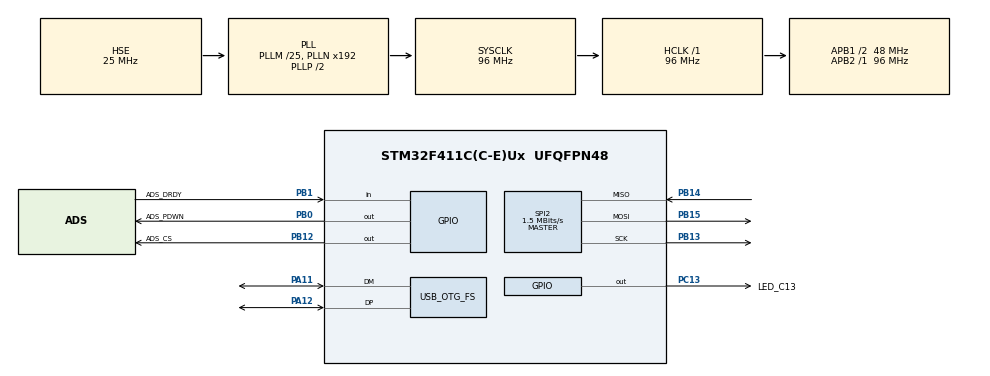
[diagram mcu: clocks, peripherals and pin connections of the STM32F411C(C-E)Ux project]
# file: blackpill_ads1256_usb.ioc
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Mcu.Family=STM32F4
Mcu.Name=STM32F411C(C-E)Ux
Mcu.Package=UFQFPN48
NVIC.OTG_FS_IRQn=true\:0\:0\:false\:false\:true\:false\:true\:true
NVIC.PriorityGroup=NVIC_PRIORITYGROUP_4
PA11.Mode=Device_Only
PA11.Signal=USB_OTG_FS_DM
PA12.Mode=Device_Only
PA12.Signal=USB_OTG_FS_DP
PB0.GPIO_Label=ADS_PDWN
PB0.Signal=GPIO_Output
PB1.GPIO_Label=ADS_DRDY
PB1.GPIO_PuPd=GPIO_PULLUP
PB1.Signal=GPIO_Input
PB12.GPIO_Label=ADS_CS
PB12.Signal=GPIO_Output
PB13.Mode=Full_Duplex_Master
PB13.Signal=SPI2_SCK
PB14.Mode=Full_Duplex_Master
PB14.Signal=SPI2_MISO
PB15.Mode=Full_Duplex_Master
PB15.Signal=SPI2_MOSI
PC13-ANTI_TAMP.GPIO_Label=LED_C13
PC13-ANTI_TAMP.Signal=GPIO_Output
PH0\ -\ OSC_IN.Mode=HSE-External-Oscillator
PH0\ -\ OSC_IN.Signal=RCC_OSC_IN
PH1\ -\ OSC_OUT.Mode=HSE-External-Oscillator
PH1\ -\ OSC_OUT.Signal=RCC_OSC_OUT
ProjectManager.HeapSize=0x200
ProjectManager.StackSize=0x400
ProjectManager.TargetToolchain=STM32CubeIDE
RCC.48MHZClocksFreq_Value=48000000
RCC.AHBFreq_Value=96000000
RCC.APB1CLKDivider=RCC_HCLK_DIV2
RCC.APB1Freq_Value=48000000
RCC.APB1TimFreq_Value=96000000
RCC.APB2Freq_Value=96000000
RCC.APB2TimFreq_Value=96000000
RCC.CortexFreq_Value=96000000
RCC.HCLKFreq_Value=96000000
RCC.HSE_VALUE=25000000
RCC.HSI_VALUE=16000000
RCC.LSE_VALUE=32768
RCC.PLLM=25
RCC.SYSCLKFreq_VALUE=96000000
RCC.SYSCLKSource=RCC_SYSCLKSOURCE_PLLCLK
RCC.VCOOutputFreq_Value=192000000
SPI2.BaudRatePrescaler=SPI_BAUDRATEPRESCALER_32
SPI2.CLKPhase=SPI_PHASE_2EDGE
SPI2.CalculateBaudRate=1.5 MBits/s
SPI2.Direction=SPI_DIRECTION_2LINES
SPI2.Mode=SPI_MODE_MASTER
SPI2.VirtualType=VM_MASTER
USB_DEVICE.CLASS_NAME_FS=CDC
USB_DEVICE.VirtualMode=Cdc
USB_DEVICE.VirtualModeFS=Cdc_FS
USB_OTG_FS.VirtualMode=Device_Only
VP_USB_DEVICE_VS_USB_DEVICE_CDC_FS.Mode=CDC_FS
board=custom

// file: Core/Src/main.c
#include "main.h"
#include "spi.h"
#include "usb_device.h"
#include "gpio.h"
#include "usbd_cdc_if.h"

#include <stdint.h>
#include <stdio.h>
#include <string.h>

#define APP_START_ADDRESS 0x08004000U

/* Pinos do ADS1256 */
#define ADS_CS_PORT        GPIOB
#define ADS_CS_PIN         GPIO_PIN_12

#define ADS_DRDY_PORT      GPIOB
#define ADS_DRDY_PIN       GPIO_PIN_1

#define ADS_PDWN_PORT      GPIOB
#define ADS_PDWN_PIN       GPIO_PIN_0

/* LED onboard da Blackpill */
#define LED_PORT           GPIOC
#define LED_PIN            GPIO_PIN_13

/* Comandos ADS1256 */
#define ADS_CMD_WAKEUP     0x00
#define ADS_CMD_RDATA      0x01
#define ADS_CMD_RDATAC     0x03
#define ADS_CMD_SDATAC     0x0F
#define ADS_CMD_RREG       0x10
#define ADS_CMD_WREG       0x50
#define ADS_CMD_SELFCAL    0xF0
#define ADS_CMD_SYNC       0xFC
#define ADS_CMD_STANDBY    0xFD
#define ADS_CMD_RESET      0xFE

/* Registradores ADS1256 */
#define ADS_REG_STATUS     0x00
#define ADS_REG_MUX        0x01
#define ADS_REG_ADCON      0x02
#define ADS_REG_DRATE      0x03

/* Taxas de amostragem ADS1256 */
#define ADS_DRATE_30000SPS 0xF0
#define ADS_DRATE_15000SPS 0xE0
#define ADS_DRATE_7500SPS  0xD0
#define ADS_DRATE_1000SPS  0xA1
#define ADS_DRATE_100SPS   0x82

/*
 * Canal inicial:
 * AIN0 contra AINCOM.
 */
#define ADS_MUX_AIN0_AINCOM 0x08

/*
 * Comece com 1000 SPS para validar.
 * Depois troque para ADS_DRATE_30000SPS.
 *
 * Atenção: imprimir texto via USB CDC pode não acompanhar 30000 SPS.
 */
#define ADS_DRATE_SELECTED  ADS_DRATE_15000SPS

#define USB_TX_BUF_SIZE 8192

void SystemClock_Config(void);

static void DWT_Init(void);
static void delay_us(uint32_t us);

static void usb_write_blocking(const char *data, uint16_t len);

static void ads_cs_low(void);
static void ads_cs_high(void);

static void ads_send_cmd(uint8_t cmd);
static void ads_write_reg(uint8_t reg, uint8_t value);
static uint8_t ads_read_reg(uint8_t reg);

static uint8_t ads_wait_drdy_timeout(uint32_t timeout_ms);
static void ads_wait_drdy(void);

static void ads_init(void);
static int32_t ads_read_raw24_continuous(void);

static void error_blink_fast(void);

int main(void)
{
  /*
   * Como seu app está em 0x08004000 por causa do bootloader WeAct,
   * a tabela de vetores precisa apontar para 0x08004000.
   */
  SCB->VTOR = APP_START_ADDRESS;
  __DSB();
  __ISB();

  HAL_Init();

  SystemClock_Config();

  MX_GPIO_Init();
  MX_SPI2_Init();
  MX_USB_DEVICE_Init();

  DWT_Init();

  /*
   * Estado inicial seguro dos pinos do ADS1256.
   */
  HAL_GPIO_WritePin(ADS_CS_PORT, ADS_CS_PIN, GPIO_PIN_SET);      // CS inativo
  HAL_GPIO_WritePin(ADS_PDWN_PORT, ADS_PDWN_PIN, GPIO_PIN_SET);  // ADS acordado
  HAL_GPIO_WritePin(LED_PORT, LED_PIN, GPIO_PIN_RESET);            // LED aceso

  /*
   * Aguarda o PC reconhecer a porta USB CDC.
   * No Linux deve aparecer algo como /dev/ttyACM0.
   */
  HAL_Delay(2000);

  usb_write_blocking("Blackpill STM32F411 + ADS1256\r\n",
                     strlen("Blackpill STM32F411 + ADS1256\r\n"));

  usb_write_blocking("Formato CSV: seq,raw\r\n",
                     strlen("Formato CSV: seq,raw\r\n"));

  usb_write_blocking("Inicializando ADS1256...\r\n",
                     strlen("Inicializando ADS1256...\r\n"));

  ads_init();

  usb_write_blocking("ADS1256 OK. Iniciando leitura.\r\n",
                     strlen("ADS1256 OK. Iniciando leitura.\r\n"));

  uint32_t seq = 0;
  char txbuf[USB_TX_BUF_SIZE];
  uint16_t txpos = 0;

  while (1)
  {
    /*
     * Aguarda nova amostra.
     * DRDY é ativo em LOW.
     */
    ads_wait_drdy();

    /*
     * Lê amostra bruta signed de 24 bits.
     */
    int32_t raw = ads_read_raw24_continuous();

    /*
     * Formata como CSV:
     * seq,raw
     */
    int n = snprintf(&txbuf[txpos],
                     USB_TX_BUF_SIZE - txpos,
                     "%lu,%ld\r\n",
                     (unsigned long)seq,
                     (long)raw);

    if (n > 0)
    {
      txpos += (uint16_t)n;
    }

    seq++;

    /*
     * Envia em blocos, em vez de enviar linha por linha.
     * Isso reduz overhead do USB CDC.
     */
    if (txpos > (USB_TX_BUF_SIZE - 64))
    {
      usb_write_blocking(txbuf, txpos);
      txpos = 0;

      /*
       * LED C13 da Blackpill geralmente é ativo em LOW.
       * Toggle indica que dados estão sendo enviados.
       */
      HAL_GPIO_TogglePin(LED_PORT, LED_PIN);
    }
  }
}

void SystemClock_Config(void)
{
  RCC_OscInitTypeDef RCC_OscInitStruct = {0};
  RCC_ClkInitTypeDef RCC_ClkInitStruct = {0};

  __HAL_RCC_PWR_CLK_ENABLE();
  __HAL_PWR_VOLTAGESCALING_CONFIG(PWR_REGULATOR_VOLTAGE_SCALE1);

  /*
   * Blackpill com cristal externo de 25 MHz.
   *
   * HSE  = 25 MHz
   * PLLM = 25  -> 1 MHz
   * PLLN = 192 -> 192 MHz
   * PLLP = 2   -> SYSCLK 96 MHz
   * PLLQ = 4   -> USB 48 MHz
   */
  RCC_OscInitStruct.OscillatorType = RCC_OSCILLATORTYPE_HSE;
  RCC_OscInitStruct.HSEState = RCC_HSE_ON;
  RCC_OscInitStruct.PLL.PLLState = RCC_PLL_ON;
  RCC_OscInitStruct.PLL.PLLSource = RCC_PLLSOURCE_HSE;
  RCC_OscInitStruct.PLL.PLLM = 25;
  RCC_OscInitStruct.PLL.PLLN = 192;
  RCC_OscInitStruct.PLL.PLLP = RCC_PLLP_DIV2;
  RCC_OscInitStruct.PLL.PLLQ = 4;

  if (HAL_RCC_OscConfig(&RCC_OscInitStruct) != HAL_OK)
  {
    Error_Handler();
  }

  RCC_ClkInitStruct.ClockType =
      RCC_CLOCKTYPE_HCLK |
      RCC_CLOCKTYPE_SYSCLK |
      RCC_CLOCKTYPE_PCLK1 |
      RCC_CLOCKTYPE_PCLK2;

  RCC_ClkInitStruct.SYSCLKSource = RCC_SYSCLKSOURCE_PLLCLK;
  RCC_ClkInitStruct.AHBCLKDivider = RCC_SYSCLK_DIV1;   // 96 MHz
  RCC_ClkInitStruct.APB1CLKDivider = RCC_HCLK_DIV2;    // 48 MHz
  RCC_ClkInitStruct.APB2CLKDivider = RCC_HCLK_DIV1;    // 96 MHz

  if (HAL_RCC_ClockConfig(&RCC_ClkInitStruct, FLASH_LATENCY_3) != HAL_OK)
  {
    Error_Handler();
  }
}

/* USER CODE BEGIN 4 */

static void DWT_Init(void)
{
  CoreDebug->DEMCR |= CoreDebug_DEMCR_TRCENA_Msk;
  DWT->CYCCNT = 0;
  DWT->CTRL |= DWT_CTRL_CYCCNTENA_Msk;
}

static void delay_us(uint32_t us)
{
  uint32_t start = DWT->CYCCNT;
  uint32_t ticks = us * (SystemCoreClock / 1000000U);

  while ((DWT->CYCCNT - start) < ticks)
  {
    __NOP();
  }
}

static void usb_write_blocking(const char *data, uint16_t len)
{
  uint32_t start = HAL_GetTick();

  while (CDC_Transmit_FS((uint8_t *)data, len) == USBD_BUSY)
  {
    if ((HAL_GetTick() - start) > 1000)
    {
      return;
    }
  }
}

static void ads_cs_low(void)
{
  HAL_GPIO_WritePin(ADS_CS_PORT, ADS_CS_PIN, GPIO_PIN_RESET);
}

static void ads_cs_high(void)
{
  HAL_GPIO_WritePin(ADS_CS_PORT, ADS_CS_PIN, GPIO_PIN_SET);
}

static void ads_send_cmd(uint8_t cmd)
{
  ads_cs_low();

  if (HAL_SPI_Transmit(&hspi2, &cmd, 1, HAL_MAX_DELAY) != HAL_OK)
  {
    ads_cs_high();
    Error_Handler();
  }

  ads_cs_high();

  delay_us(10);
}

static void ads_write_reg(uint8_t reg, uint8_t value)
{
  uint8_t tx[3];

  tx[0] = ADS_CMD_WREG | (reg & 0x0F);
  tx[1] = 0x00;
  tx[2] = value;

  ads_cs_low();

  if (HAL_SPI_Transmit(&hspi2, tx, 3, HAL_MAX_DELAY) != HAL_OK)
  {
    ads_cs_high();
    Error_Handler();
  }

  ads_cs_high();

  delay_us(10);
}

static uint8_t ads_read_reg(uint8_t reg)
{
  uint8_t tx[2];
  uint8_t value = 0;

  tx[0] = ADS_CMD_RREG | (reg & 0x0F);
  tx[1] = 0x00;

  ads_cs_low();

  if (HAL_SPI_Transmit(&hspi2, tx, 2, HAL_MAX_DELAY) != HAL_OK)
  {
    ads_cs_high();
    Error_Handler();
  }

  delay_us(10);

  if (HAL_SPI_Receive(&hspi2, &value, 1, HAL_MAX_DELAY) != HAL_OK)
  {
    ads_cs_high();
    Error_Handler();
  }

  ads_cs_high();

  delay_us(10);

  return value;
}

static uint8_t ads_wait_drdy_timeout(uint32_t timeout_ms)
{
  uint32_t start = HAL_GetTick();

  while (HAL_GPIO_ReadPin(ADS_DRDY_PORT, ADS_DRDY_PIN) == GPIO_PIN_SET)
  {
    if ((HAL_GetTick() - start) > timeout_ms)
    {
      return 0;
    }
  }

  return 1;
}

static void ads_wait_drdy(void)
{
  while (HAL_GPIO_ReadPin(ADS_DRDY_PORT, ADS_DRDY_PIN) == GPIO_PIN_SET)
  {
    __NOP();
  }
}

static void ads_init(void)
{
  ads_cs_high();

  /*
   * Mantém PDWN alto: ADS1256 ativo.
   */
  HAL_GPIO_WritePin(ADS_PDWN_PORT, ADS_PDWN_PIN, GPIO_PIN_SET);
  HAL_Delay(50);

  /*
   * Reset por comando SPI, pois seu módulo não expõe pino RESET.
   */
  ads_send_cmd(ADS_CMD_RESET);
  HAL_Delay(5);

  if (!ads_wait_drdy_timeout(1000))
  {
    usb_write_blocking("ERRO: timeout DRDY apos RESET\r\n",
                       strlen("ERRO: timeout DRDY apos RESET\r\n"));
    Error_Handler();
  }

  /*
   * Garante que não estamos em modo leitura contínua antes de configurar.
   */
  ads_send_cmd(ADS_CMD_SDATAC);
  HAL_Delay(2);

  /*
   * Seleciona canal AIN0 contra AINCOM.
   */
  ads_write_reg(ADS_REG_MUX, ADS_MUX_AIN0_AINCOM);

  /*
   * ADCON:
   * 0x00 = clock out off, sensor detect off, PGA gain = 1.
   */
  ads_write_reg(ADS_REG_ADCON, 0x00);

  /*
   * Configura taxa de amostragem.
   */
  ads_write_reg(ADS_REG_DRATE, ADS_DRATE_SELECTED);

  /*
   * Calibração interna.
   */
  ads_send_cmd(ADS_CMD_SELFCAL);

  if (!ads_wait_drdy_timeout(1000))
  {
    usb_write_blocking("ERRO: timeout DRDY apos SELFCAL\r\n",
                       strlen("ERRO: timeout DRDY apos SELFCAL\r\n"));
    Error_Handler();
  }

  /*
   * Verifica comunicação lendo de volta o registrador MUX.
   */
  uint8_t mux = ads_read_reg(ADS_REG_MUX);

  char msg[80];
  int n = snprintf(msg, sizeof(msg), "MUX lido: 0x%02X\r\n", mux);
  usb_write_blocking(msg, (uint16_t)n);

  if (mux != ADS_MUX_AIN0_AINCOM)
  {
    usb_write_blocking("ERRO: MUX diferente do esperado\r\n",
                       strlen("ERRO: MUX diferente do esperado\r\n"));
    Error_Handler();
  }

  /*
   * Entra em modo de leitura contínua.
   * Depois disso, a cada DRDY baixo, basta clockar 3 bytes pelo SPI.
   */
  ads_send_cmd(ADS_CMD_RDATAC);
  delay_us(10);
}

static int32_t ads_read_raw24_continuous(void)
{
  uint8_t tx[3] = {0xFF, 0xFF, 0xFF};
  uint8_t rx[3] = {0x00, 0x00, 0x00};

  ads_cs_low();

  if (HAL_SPI_TransmitReceive(&hspi2, tx, rx, 3, HAL_MAX_DELAY) != HAL_OK)
  {
    ads_cs_high();
    Error_Handler();
  }

  ads_cs_high();

  int32_t value = ((int32_t)rx[0] << 16) |
                  ((int32_t)rx[1] << 8) |
                  ((int32_t)rx[2]);

  /*
   * Extensão de sinal de 24 bits para 32 bits.
   */
  if (value & 0x800000)
  {
    value |= 0xFF000000;
  }

  return value;
}

static void error_blink_fast(void)
{
  while (1)
  {
    HAL_GPIO_WritePin(LED_PORT, LED_PIN, GPIO_PIN_RESET);
    HAL_Delay(80);
    HAL_GPIO_WritePin(LED_PORT, LED_PIN, GPIO_PIN_SET);
    HAL_Delay(80);
  }
}

/* USER CODE END 4 */

void Error_Handler(void)
{
  __disable_irq();
  error_blink_fast();
}
